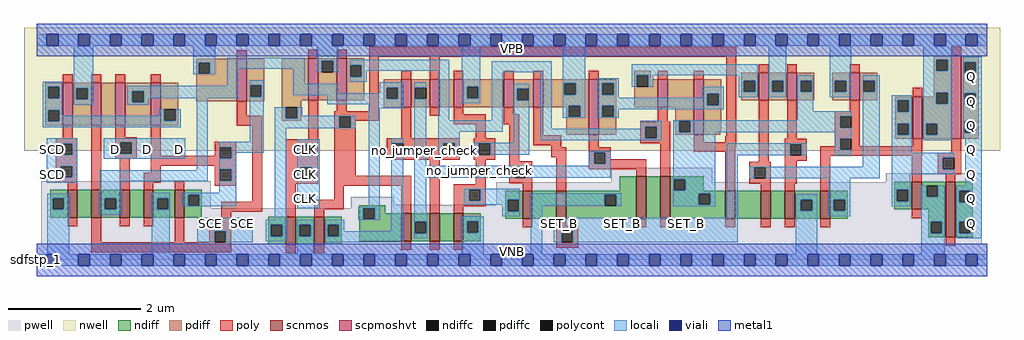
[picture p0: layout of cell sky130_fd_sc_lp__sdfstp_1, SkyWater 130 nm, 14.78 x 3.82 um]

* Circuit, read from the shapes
.subckt sky130_fd_sc_lp__sdfstp_1 CLK D SCD SCE SET_B VGND VNB VPB VPWR Q
XM1 n1 SCD VGND VNB sky130_fd_pr__nfet_01v8 w=0.42 l=0.15
XM2 n2 SCE n1 VNB sky130_fd_pr__nfet_01v8 w=0.42 l=0.15
XM3 n3 D n2 VNB sky130_fd_pr__nfet_01v8 w=0.42 l=0.15
XM4 VGND n4 n3 VNB sky130_fd_pr__nfet_01v8 w=0.42 l=0.15
XM5 n4 SCE VGND VNB sky130_fd_pr__nfet_01v8 w=0.42 l=0.15
XM6 VGND CLK n5 VNB sky130_fd_pr__nfet_01v8 w=0.42 l=0.15
XM7 n6 n5 VGND VNB sky130_fd_pr__nfet_01v8 w=0.42 l=0.15
XM8 n7 n5 n2 VNB sky130_fd_pr__nfet_01v8 w=0.42 l=0.15
XM9 n8 n6 n7 VNB sky130_fd_pr__nfet_01v8 w=0.42 l=0.15
XM10 VGND n9 n8 VNB sky130_fd_pr__nfet_01v8 w=0.42 l=0.15
XM11 n10 n7 n9 VNB sky130_fd_pr__nfet_01v8 w=0.42 l=0.15
XM12 VGND SET_B n10 VNB sky130_fd_pr__nfet_01v8 w=0.42 l=0.15
XM13 n11 n7 VGND VNB sky130_fd_pr__nfet_01v8 w=0.64 l=0.15
XM14 n12 n6 n11 VNB sky130_fd_pr__nfet_01v8 w=0.64 l=0.15
XM15 n13 n5 n12 VNB sky130_fd_pr__nfet_01v8 w=0.42 l=0.15
XM16 n14 n15 n13 VNB sky130_fd_pr__nfet_01v8 w=0.42 l=0.15
XM17 VGND SET_B n14 VNB sky130_fd_pr__nfet_01v8 w=0.42 l=0.15
XM18 n15 n12 VGND VNB sky130_fd_pr__nfet_01v8 w=0.42 l=0.15
XM19 VGND n12 n16 VNB sky130_fd_pr__nfet_01v8 w=0.42 l=0.15
XM20 Q n16 VGND VNB sky130_fd_pr__nfet_01v8 w=0.84 l=0.15
XM21 VPWR SCD n17 VPB sky130_fd_pr__pfet_01v8_hvt w=0.64 l=0.15
XM22 n18 SCE VPWR VPB sky130_fd_pr__pfet_01v8_hvt w=0.64 l=0.15
XM23 n2 D n18 VPB sky130_fd_pr__pfet_01v8_hvt w=0.64 l=0.15
XM24 n17 n4 n2 VPB sky130_fd_pr__pfet_01v8_hvt w=0.64 l=0.15
XM25 n4 SCE VPWR VPB sky130_fd_pr__pfet_01v8_hvt w=0.64 l=0.15
XM26 VPWR CLK n5 VPB sky130_fd_pr__pfet_01v8_hvt w=0.64 l=0.15
XM27 n6 n5 VPWR VPB sky130_fd_pr__pfet_01v8_hvt w=0.64 l=0.15
XM28 n7 n6 n2 VPB sky130_fd_pr__pfet_01v8_hvt w=0.42 l=0.15
XM29 n19 n5 n7 VPB sky130_fd_pr__pfet_01v8_hvt w=0.42 l=0.15
XM30 VPWR n9 n19 VPB sky130_fd_pr__pfet_01v8_hvt w=0.42 l=0.15
XM31 n9 n7 VPWR VPB sky130_fd_pr__pfet_01v8_hvt w=0.42 l=0.15
XM32 VPWR SET_B n9 VPB sky130_fd_pr__pfet_01v8_hvt w=0.42 l=0.15
XM33 n20 n7 VPWR VPB sky130_fd_pr__pfet_01v8_hvt w=0.84 l=0.15
XM34 n12 n6 n21 VPB sky130_fd_pr__pfet_01v8_hvt w=0.42 l=0.15
XM35 n20 n5 n12 VPB sky130_fd_pr__pfet_01v8_hvt w=0.84 l=0.15
XM36 VPWR n15 n21 VPB sky130_fd_pr__pfet_01v8_hvt w=0.42 l=0.15
XM37 n12 SET_B VPWR VPB sky130_fd_pr__pfet_01v8_hvt w=0.42 l=0.15
XM38 n15 n12 VPWR VPB sky130_fd_pr__pfet_01v8_hvt w=0.42 l=0.15
XM39 VPWR n12 n16 VPB sky130_fd_pr__pfet_01v8_hvt w=0.64 l=0.15
XM40 Q n16 VPWR VPB sky130_fd_pr__pfet_01v8_hvt w=1.26 l=0.15
.ends

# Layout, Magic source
magic
tech sky130A
magscale 1 2
<< nwell >>
rect -38 331 2918 704
<< pwell >>
rect 15 157 527 238
rect 1741 235 2047 279
rect 2572 235 2862 263
rect 952 167 1082 191
rect 1393 167 2862 235
rect 952 157 2862 167
rect 15 49 2862 157
rect 0 0 2880 49
<< scnmos >>
rect 94 128 124 212
rect 166 128 196 212
rect 252 128 282 212
rect 324 128 354 212
rect 418 128 448 212
rect 755 47 785 131
rect 841 47 871 131
rect 1105 57 1135 141
rect 1191 57 1221 141
rect 1263 57 1293 141
rect 1472 125 1502 209
rect 1574 125 1604 209
rect 1817 125 1847 253
rect 1889 125 1919 253
rect 2086 125 2116 209
rect 2194 125 2224 209
rect 2266 125 2296 209
rect 2374 125 2404 209
rect 2651 153 2681 237
rect 2753 69 2783 237
<< scpmoshvt >>
rect 80 408 110 536
rect 166 408 196 536
rect 238 408 268 536
rect 346 408 376 536
rect 606 481 636 609
rect 823 483 853 611
rect 909 483 939 611
rect 1105 463 1135 547
rect 1191 463 1221 547
rect 1263 463 1293 547
rect 1415 463 1445 547
rect 1504 463 1534 547
rect 1673 379 1703 547
rect 1882 463 1912 547
rect 1991 379 2021 547
rect 2187 483 2217 567
rect 2273 483 2303 567
rect 2463 483 2493 567
rect 2653 367 2683 495
rect 2770 367 2800 619
<< ndiff >>
rect 41 187 94 212
rect 41 153 49 187
rect 83 153 94 187
rect 41 128 94 153
rect 124 128 166 212
rect 196 187 252 212
rect 196 153 207 187
rect 241 153 252 187
rect 196 128 252 153
rect 282 128 324 212
rect 354 187 418 212
rect 354 153 365 187
rect 399 153 418 187
rect 354 128 418 153
rect 448 198 501 212
rect 448 164 459 198
rect 493 164 501 198
rect 448 128 501 164
rect 978 157 1056 165
rect 702 106 755 131
rect 702 72 710 106
rect 744 72 755 106
rect 702 47 755 72
rect 785 106 841 131
rect 785 72 796 106
rect 830 72 841 106
rect 785 47 841 72
rect 871 106 924 131
rect 871 72 882 106
rect 916 72 924 106
rect 871 47 924 72
rect 978 123 990 157
rect 1024 141 1056 157
rect 1767 209 1817 253
rect 1419 182 1472 209
rect 1419 148 1427 182
rect 1461 148 1472 182
rect 1024 123 1105 141
rect 978 57 1105 123
rect 1135 115 1191 141
rect 1135 81 1146 115
rect 1180 81 1191 115
rect 1135 57 1191 81
rect 1221 57 1263 141
rect 1293 117 1346 141
rect 1419 125 1472 148
rect 1502 125 1574 209
rect 1604 198 1817 209
rect 1604 164 1721 198
rect 1755 164 1817 198
rect 1604 125 1817 164
rect 1847 125 1889 253
rect 1919 245 2021 253
rect 1919 211 1930 245
rect 1964 211 2021 245
rect 1919 209 2021 211
rect 2598 212 2651 237
rect 1919 201 2086 209
rect 1919 167 2006 201
rect 2040 167 2086 201
rect 1919 125 2086 167
rect 2116 125 2194 209
rect 2224 125 2266 209
rect 2296 183 2374 209
rect 2296 149 2315 183
rect 2349 149 2374 183
rect 2296 125 2374 149
rect 2404 183 2457 209
rect 2404 149 2415 183
rect 2449 149 2457 183
rect 2598 178 2606 212
rect 2640 178 2651 212
rect 2598 153 2651 178
rect 2681 225 2753 237
rect 2681 191 2696 225
rect 2730 191 2753 225
rect 2681 153 2753 191
rect 2404 125 2457 149
rect 1293 83 1304 117
rect 1338 83 1346 117
rect 1293 57 1346 83
rect 2700 115 2753 153
rect 2700 81 2708 115
rect 2742 81 2753 115
rect 2700 69 2753 81
rect 2783 209 2836 237
rect 2783 175 2794 209
rect 2828 175 2836 209
rect 2783 115 2836 175
rect 2783 81 2794 115
rect 2828 81 2836 115
rect 2783 69 2836 81
<< pdiff >>
rect 483 609 557 610
rect 483 598 606 609
rect 483 564 491 598
rect 525 564 606 598
rect 27 524 80 536
rect 27 490 35 524
rect 69 490 80 524
rect 27 454 80 490
rect 27 420 35 454
rect 69 420 80 454
rect 27 408 80 420
rect 110 520 166 536
rect 110 486 121 520
rect 155 486 166 520
rect 110 408 166 486
rect 196 408 238 536
rect 268 511 346 536
rect 268 477 290 511
rect 324 477 346 511
rect 268 408 346 477
rect 376 456 429 536
rect 483 481 606 564
rect 636 529 689 609
rect 636 495 647 529
rect 681 495 689 529
rect 636 481 689 495
rect 743 483 823 611
rect 853 603 909 611
rect 853 569 864 603
rect 898 569 909 603
rect 853 483 909 569
rect 939 589 992 611
rect 939 555 950 589
rect 984 555 992 589
rect 939 483 992 555
rect 376 422 387 456
rect 421 422 429 456
rect 376 408 429 422
rect 743 463 801 483
rect 743 429 755 463
rect 789 429 801 463
rect 743 421 801 429
rect 1810 559 1860 573
rect 1052 522 1105 547
rect 1052 488 1060 522
rect 1094 488 1105 522
rect 1052 463 1105 488
rect 1135 522 1191 547
rect 1135 488 1146 522
rect 1180 488 1191 522
rect 1135 463 1191 488
rect 1221 463 1263 547
rect 1293 524 1415 547
rect 1293 490 1304 524
rect 1338 490 1415 524
rect 1293 463 1415 490
rect 1445 518 1504 547
rect 1445 484 1456 518
rect 1490 484 1504 518
rect 1445 463 1504 484
rect 1534 535 1673 547
rect 1534 501 1599 535
rect 1633 501 1673 535
rect 1534 467 1673 501
rect 1534 463 1612 467
rect 1604 433 1612 463
rect 1646 433 1673 467
rect 1604 379 1673 433
rect 1703 535 1756 547
rect 1703 501 1714 535
rect 1748 501 1756 535
rect 1703 467 1756 501
rect 1703 433 1714 467
rect 1748 433 1756 467
rect 1810 525 1818 559
rect 1852 547 1860 559
rect 1852 525 1882 547
rect 1810 463 1882 525
rect 1912 463 1991 547
rect 1703 379 1756 433
rect 1934 421 1991 463
rect 1934 387 1946 421
rect 1980 387 1991 421
rect 1934 379 1991 387
rect 2021 503 2074 547
rect 2021 469 2032 503
rect 2066 469 2074 503
rect 2021 390 2074 469
rect 2021 379 2071 390
rect 2717 607 2770 619
rect 2717 573 2725 607
rect 2759 573 2770 607
rect 2134 543 2187 567
rect 2134 509 2142 543
rect 2176 509 2187 543
rect 2134 483 2187 509
rect 2217 543 2273 567
rect 2217 509 2228 543
rect 2262 509 2273 543
rect 2217 483 2273 509
rect 2303 543 2356 567
rect 2303 509 2314 543
rect 2348 509 2356 543
rect 2303 483 2356 509
rect 2410 543 2463 567
rect 2410 509 2418 543
rect 2452 509 2463 543
rect 2410 483 2463 509
rect 2493 543 2546 567
rect 2493 509 2504 543
rect 2538 509 2546 543
rect 2493 483 2546 509
rect 2717 507 2770 573
rect 2717 495 2725 507
rect 2600 483 2653 495
rect 2600 449 2608 483
rect 2642 449 2653 483
rect 2600 413 2653 449
rect 2600 379 2608 413
rect 2642 379 2653 413
rect 2600 367 2653 379
rect 2683 473 2725 495
rect 2759 473 2770 507
rect 2683 413 2770 473
rect 2683 379 2694 413
rect 2728 379 2770 413
rect 2683 367 2770 379
rect 2800 599 2853 619
rect 2800 565 2811 599
rect 2845 565 2853 599
rect 2800 505 2853 565
rect 2800 471 2811 505
rect 2845 471 2853 505
rect 2800 420 2853 471
rect 2800 386 2811 420
rect 2845 386 2853 420
rect 2800 367 2853 386
<< ndiffc >>
rect 49 153 83 187
rect 207 153 241 187
rect 365 153 399 187
rect 459 164 493 198
rect 710 72 744 106
rect 796 72 830 106
rect 882 72 916 106
rect 990 123 1024 157
rect 1427 148 1461 182
rect 1146 81 1180 115
rect 1721 164 1755 198
rect 1930 211 1964 245
rect 2006 167 2040 201
rect 2315 149 2349 183
rect 2415 149 2449 183
rect 2606 178 2640 212
rect 2696 191 2730 225
rect 1304 83 1338 117
rect 2708 81 2742 115
rect 2794 175 2828 209
rect 2794 81 2828 115
<< pdiffc >>
rect 491 564 525 598
rect 35 490 69 524
rect 35 420 69 454
rect 121 486 155 520
rect 290 477 324 511
rect 647 495 681 529
rect 864 569 898 603
rect 950 555 984 589
rect 387 422 421 456
rect 755 429 789 463
rect 1060 488 1094 522
rect 1146 488 1180 522
rect 1304 490 1338 524
rect 1456 484 1490 518
rect 1599 501 1633 535
rect 1612 433 1646 467
rect 1714 501 1748 535
rect 1714 433 1748 467
rect 1818 525 1852 559
rect 1946 387 1980 421
rect 2032 469 2066 503
rect 2725 573 2759 607
rect 2142 509 2176 543
rect 2228 509 2262 543
rect 2314 509 2348 543
rect 2418 509 2452 543
rect 2504 509 2538 543
rect 2608 449 2642 483
rect 2608 379 2642 413
rect 2725 473 2759 507
rect 2694 379 2728 413
rect 2811 565 2845 599
rect 2811 471 2845 505
rect 2811 386 2845 420
<< poly >>
rect 606 609 636 635
rect 823 611 853 637
rect 909 611 939 637
rect 1007 615 2119 645
rect 2770 619 2800 645
rect 80 536 110 562
rect 166 536 196 562
rect 238 536 268 562
rect 346 536 376 562
rect 606 436 636 481
rect 80 368 110 408
rect 58 352 124 368
rect 58 318 74 352
rect 108 318 124 352
rect 58 284 124 318
rect 58 250 74 284
rect 108 250 124 284
rect 58 234 124 250
rect 94 212 124 234
rect 166 212 196 408
rect 238 372 268 408
rect 238 356 304 372
rect 238 322 254 356
rect 288 322 304 356
rect 238 306 304 322
rect 346 316 376 408
rect 606 406 683 436
rect 539 342 605 358
rect 539 316 555 342
rect 346 308 555 316
rect 589 308 605 342
rect 252 212 282 306
rect 346 286 605 308
rect 346 264 376 286
rect 324 234 376 264
rect 539 274 605 286
rect 539 240 555 274
rect 589 240 605 274
rect 324 212 354 234
rect 418 212 448 238
rect 539 224 605 240
rect 653 176 683 406
rect 823 365 853 483
rect 909 451 939 483
rect 1007 451 1037 615
rect 1105 547 1135 573
rect 1191 547 1221 615
rect 1263 547 1293 573
rect 1415 547 1445 573
rect 1504 547 1534 573
rect 1673 547 1703 573
rect 559 146 683 176
rect 755 349 853 365
rect 755 315 799 349
rect 833 315 853 349
rect 755 281 853 315
rect 755 247 799 281
rect 833 247 853 281
rect 755 231 853 247
rect 901 435 1037 451
rect 901 401 917 435
rect 951 421 1037 435
rect 951 401 967 421
rect 901 255 967 401
rect 1105 369 1135 463
rect 1191 437 1221 463
rect 1263 441 1293 463
rect 1415 441 1445 463
rect 1263 411 1360 441
rect 1415 411 1462 441
rect 1330 369 1360 411
rect 1060 353 1282 369
rect 1060 319 1076 353
rect 1110 319 1232 353
rect 1266 319 1282 353
rect 1060 303 1282 319
rect 1324 353 1390 369
rect 1324 319 1340 353
rect 1374 319 1390 353
rect 1324 303 1390 319
rect 94 102 124 128
rect 166 54 196 128
rect 252 102 282 128
rect 324 102 354 128
rect 418 54 448 128
rect 559 103 589 146
rect 755 131 785 231
rect 901 225 1135 255
rect 901 183 931 225
rect 841 153 931 183
rect 841 131 871 153
rect 523 87 589 103
rect 523 54 539 87
rect 166 53 539 54
rect 573 53 589 87
rect 166 24 589 53
rect 1105 141 1135 225
rect 1191 141 1221 303
rect 1330 229 1360 303
rect 1432 299 1462 411
rect 1504 377 1534 463
rect 1882 547 1912 573
rect 1991 547 2021 573
rect 1882 419 1912 463
rect 1828 403 1919 419
rect 1504 347 1589 377
rect 1559 341 1589 347
rect 1673 341 1703 379
rect 1828 369 1844 403
rect 1878 369 1919 403
rect 1828 353 1919 369
rect 1559 311 1604 341
rect 1432 283 1502 299
rect 1432 249 1448 283
rect 1482 249 1502 283
rect 1432 233 1502 249
rect 1263 213 1360 229
rect 1263 179 1310 213
rect 1344 179 1360 213
rect 1472 209 1502 233
rect 1574 209 1604 311
rect 1673 325 1739 341
rect 1673 291 1689 325
rect 1723 305 1739 325
rect 1723 291 1847 305
rect 1673 275 1847 291
rect 1817 253 1847 275
rect 1889 253 1919 353
rect 1991 357 2021 379
rect 2089 375 2119 615
rect 2187 567 2217 593
rect 2273 567 2303 593
rect 2463 567 2493 593
rect 2653 495 2683 521
rect 2086 357 2119 375
rect 1991 345 2119 357
rect 1991 327 2116 345
rect 1263 163 1360 179
rect 1263 141 1293 163
rect 2086 209 2116 327
rect 2187 297 2217 483
rect 2273 367 2303 483
rect 2463 451 2493 483
rect 2418 435 2493 451
rect 2418 401 2434 435
rect 2468 401 2493 435
rect 2418 367 2493 401
rect 2266 351 2332 367
rect 2266 317 2282 351
rect 2316 317 2332 351
rect 2418 345 2434 367
rect 2266 301 2332 317
rect 2374 333 2434 345
rect 2468 345 2493 367
rect 2653 345 2683 367
rect 2468 333 2683 345
rect 2374 315 2683 333
rect 2770 325 2800 367
rect 2158 281 2224 297
rect 2158 247 2174 281
rect 2208 247 2224 281
rect 2158 231 2224 247
rect 2194 209 2224 231
rect 2266 231 2302 301
rect 2266 209 2296 231
rect 2374 209 2404 315
rect 2651 237 2681 315
rect 2729 309 2800 325
rect 2729 275 2745 309
rect 2779 275 2800 309
rect 2729 259 2800 275
rect 2753 237 2783 259
rect 2651 127 2681 153
rect 1472 99 1502 125
rect 1574 103 1604 125
rect 1574 87 1640 103
rect 1817 99 1847 125
rect 1889 99 1919 125
rect 2086 99 2116 125
rect 2194 99 2224 125
rect 2266 99 2296 125
rect 2374 99 2404 125
rect 755 21 785 47
rect 841 21 871 47
rect 1105 31 1135 57
rect 1191 31 1221 57
rect 1263 31 1293 57
rect 1574 53 1590 87
rect 1624 53 1640 87
rect 1574 37 1640 53
rect 2753 43 2783 69
<< polycont >>
rect 74 318 108 352
rect 74 250 108 284
rect 254 322 288 356
rect 555 308 589 342
rect 555 240 589 274
rect 799 315 833 349
rect 799 247 833 281
rect 917 401 951 435
rect 1076 319 1110 353
rect 1232 319 1266 353
rect 1340 319 1374 353
rect 539 53 573 87
rect 1844 369 1878 403
rect 1448 249 1482 283
rect 1310 179 1344 213
rect 1689 291 1723 325
rect 2434 401 2468 435
rect 2282 317 2316 351
rect 2434 333 2468 367
rect 2174 247 2208 281
rect 2745 275 2779 309
rect 1590 53 1624 87
<< locali >>
rect 0 649 31 683
rect 65 649 127 683
rect 161 649 223 683
rect 257 649 319 683
rect 353 649 415 683
rect 449 649 511 683
rect 545 649 607 683
rect 641 649 703 683
rect 737 649 799 683
rect 833 649 895 683
rect 929 649 991 683
rect 1025 649 1087 683
rect 1121 649 1183 683
rect 1217 649 1279 683
rect 1313 649 1375 683
rect 1409 649 1471 683
rect 1505 649 1567 683
rect 1601 649 1663 683
rect 1697 649 1759 683
rect 1793 649 1855 683
rect 1889 649 1951 683
rect 1985 649 2047 683
rect 2081 649 2143 683
rect 2177 649 2239 683
rect 2273 649 2335 683
rect 2369 649 2431 683
rect 2465 649 2527 683
rect 2561 649 2623 683
rect 2657 649 2719 683
rect 2753 649 2815 683
rect 2849 649 2880 683
rect 19 524 78 540
rect 19 490 35 524
rect 69 490 78 524
rect 19 454 78 490
rect 112 520 171 649
rect 475 598 541 649
rect 475 564 491 598
rect 525 564 541 598
rect 475 562 541 564
rect 577 579 812 613
rect 577 528 611 579
rect 112 486 121 520
rect 155 486 171 520
rect 112 470 171 486
rect 274 511 611 528
rect 274 477 290 511
rect 324 490 611 511
rect 645 529 688 545
rect 645 495 647 529
rect 681 495 688 529
rect 778 533 812 579
rect 848 603 914 649
rect 848 569 864 603
rect 898 569 914 603
rect 948 589 1250 607
rect 948 555 950 589
rect 984 573 1250 589
rect 984 555 1000 573
rect 948 539 1000 555
rect 778 505 914 533
rect 1040 522 1110 538
rect 1040 505 1060 522
rect 778 499 1060 505
rect 324 477 340 490
rect 274 470 340 477
rect 19 420 35 454
rect 69 436 78 454
rect 371 436 387 456
rect 69 422 387 436
rect 421 422 437 456
rect 69 420 437 422
rect 19 402 437 420
rect 31 352 124 368
rect 31 318 74 352
rect 108 318 124 352
rect 31 284 124 318
rect 203 356 451 368
rect 203 322 254 356
rect 288 322 451 356
rect 203 306 451 322
rect 31 250 74 284
rect 108 250 124 284
rect 485 272 519 490
rect 645 358 688 495
rect 880 488 1060 499
rect 1094 488 1110 522
rect 880 471 1110 488
rect 31 234 124 250
rect 191 238 519 272
rect 553 342 688 358
rect 553 308 555 342
rect 589 324 688 342
rect 722 429 755 463
rect 789 437 805 463
rect 1006 459 1110 471
rect 1144 522 1180 538
rect 1144 488 1146 522
rect 789 435 967 437
rect 789 429 917 435
rect 722 401 917 429
rect 951 401 967 435
rect 722 399 967 401
rect 589 308 605 324
rect 553 274 605 308
rect 553 240 555 274
rect 589 240 605 274
rect 33 187 99 200
rect 33 153 49 187
rect 83 153 99 187
rect 33 17 99 153
rect 191 187 257 238
rect 553 204 605 240
rect 191 153 207 187
rect 241 153 257 187
rect 191 137 257 153
rect 349 187 403 203
rect 349 153 365 187
rect 399 153 403 187
rect 443 198 605 204
rect 443 164 459 198
rect 493 164 605 198
rect 443 162 605 164
rect 349 17 403 153
rect 486 87 655 128
rect 722 122 756 399
rect 790 349 857 365
rect 790 315 799 349
rect 833 315 857 349
rect 790 281 857 315
rect 790 247 799 281
rect 833 247 857 281
rect 790 156 857 247
rect 1006 161 1040 459
rect 974 157 1040 161
rect 974 123 990 157
rect 1024 123 1040 157
rect 486 53 539 87
rect 573 53 655 87
rect 694 106 756 122
rect 694 72 710 106
rect 744 72 756 106
rect 694 56 756 72
rect 790 106 840 122
rect 790 72 796 106
rect 830 72 840 106
rect 790 17 840 72
rect 874 106 932 122
rect 974 121 1040 123
rect 1074 353 1110 369
rect 1074 319 1076 353
rect 874 72 882 106
rect 916 87 932 106
rect 1074 87 1110 319
rect 916 72 1110 87
rect 874 53 1110 72
rect 1144 285 1180 488
rect 1216 423 1250 573
rect 1288 524 1344 649
rect 1288 490 1304 524
rect 1338 490 1344 524
rect 1288 474 1344 490
rect 1378 568 1560 602
rect 1378 423 1412 568
rect 1216 389 1412 423
rect 1446 518 1492 534
rect 1446 484 1456 518
rect 1490 484 1492 518
rect 1216 353 1282 389
rect 1446 355 1492 484
rect 1526 397 1560 568
rect 1594 535 1662 649
rect 1802 559 2184 593
rect 1594 501 1599 535
rect 1633 501 1662 535
rect 1594 467 1662 501
rect 1594 433 1612 467
rect 1646 433 1662 467
rect 1594 431 1662 433
rect 1698 535 1764 551
rect 1698 501 1714 535
rect 1748 501 1764 535
rect 1802 525 1818 559
rect 1852 525 1868 559
rect 2126 543 2184 559
rect 1698 491 1764 501
rect 2016 503 2082 525
rect 2016 491 2032 503
rect 1698 469 2032 491
rect 2066 469 2082 503
rect 2126 509 2142 543
rect 2176 509 2184 543
rect 2126 493 2184 509
rect 2218 543 2270 649
rect 2218 509 2228 543
rect 2262 509 2270 543
rect 2218 493 2270 509
rect 2304 543 2352 559
rect 2304 509 2314 543
rect 2348 509 2352 543
rect 1698 467 2082 469
rect 1698 433 1714 467
rect 1748 457 2082 467
rect 1748 433 1764 457
rect 1698 431 1764 433
rect 2304 451 2352 509
rect 2402 543 2468 649
rect 2685 607 2773 649
rect 2685 573 2725 607
rect 2759 573 2773 607
rect 2402 509 2418 543
rect 2452 509 2468 543
rect 2402 493 2468 509
rect 2502 543 2554 559
rect 2502 509 2504 543
rect 2538 509 2554 543
rect 2304 435 2468 451
rect 2304 423 2434 435
rect 1928 421 2434 423
rect 1828 403 1894 421
rect 1828 397 1844 403
rect 1526 369 1844 397
rect 1878 369 1894 403
rect 1526 363 1894 369
rect 1928 387 1946 421
rect 1980 401 2434 421
rect 1980 387 2468 401
rect 1216 319 1232 353
rect 1266 319 1282 353
rect 1324 353 1492 355
rect 1324 319 1340 353
rect 1374 319 1492 353
rect 1673 325 1739 329
rect 1673 291 1689 325
rect 1723 291 1739 325
rect 1673 285 1739 291
rect 1144 283 1739 285
rect 1144 249 1448 283
rect 1482 249 1739 283
rect 1144 145 1180 249
rect 1928 245 2056 387
rect 2418 367 2468 387
rect 1294 213 1463 215
rect 1294 179 1310 213
rect 1344 182 1463 213
rect 1928 211 1930 245
rect 1964 211 2056 245
rect 1344 179 1427 182
rect 1294 167 1427 179
rect 1411 148 1427 167
rect 1461 148 1463 182
rect 1144 115 1184 145
rect 1144 81 1146 115
rect 1180 81 1184 115
rect 1144 65 1184 81
rect 1288 117 1354 133
rect 1411 132 1463 148
rect 1497 198 1771 202
rect 1497 164 1721 198
rect 1755 164 1771 198
rect 1928 201 2056 211
rect 1928 167 2006 201
rect 2040 167 2056 201
rect 1288 83 1304 117
rect 1338 83 1354 117
rect 1288 17 1354 83
rect 1497 17 1531 164
rect 1928 162 2056 167
rect 2090 351 2332 353
rect 2090 317 2282 351
rect 2316 317 2332 351
rect 2418 333 2434 367
rect 2418 317 2468 333
rect 2090 128 2124 317
rect 2502 283 2554 509
rect 2685 507 2773 573
rect 2158 281 2554 283
rect 2158 247 2174 281
rect 2208 247 2554 281
rect 2590 483 2651 499
rect 2590 449 2608 483
rect 2642 449 2651 483
rect 2590 413 2651 449
rect 2590 379 2608 413
rect 2642 379 2651 413
rect 2590 325 2651 379
rect 2685 473 2725 507
rect 2759 473 2773 507
rect 2685 413 2773 473
rect 2685 379 2694 413
rect 2728 379 2773 413
rect 2685 363 2773 379
rect 2807 599 2863 615
rect 2807 565 2811 599
rect 2845 565 2863 599
rect 2807 505 2863 565
rect 2807 471 2811 505
rect 2845 471 2863 505
rect 2807 420 2863 471
rect 2807 386 2811 420
rect 2845 386 2863 420
rect 2807 370 2863 386
rect 2590 309 2779 325
rect 2590 275 2745 309
rect 2590 259 2779 275
rect 1567 87 2124 128
rect 1567 53 1590 87
rect 1624 53 2124 87
rect 2299 183 2365 199
rect 2299 149 2315 183
rect 2349 149 2365 183
rect 2299 17 2365 149
rect 2399 183 2465 247
rect 2399 149 2415 183
rect 2449 149 2465 183
rect 2590 212 2646 259
rect 2813 225 2863 370
rect 2590 178 2606 212
rect 2640 178 2646 212
rect 2590 162 2646 178
rect 2680 191 2696 225
rect 2730 191 2751 225
rect 2399 133 2465 149
rect 2680 115 2751 191
rect 2680 81 2708 115
rect 2742 81 2751 115
rect 2680 17 2751 81
rect 2785 209 2863 225
rect 2785 175 2794 209
rect 2828 175 2863 209
rect 2785 115 2863 175
rect 2785 81 2794 115
rect 2828 81 2863 115
rect 2785 65 2863 81
rect 0 -17 31 17
rect 65 -17 127 17
rect 161 -17 223 17
rect 257 -17 319 17
rect 353 -17 415 17
rect 449 -17 511 17
rect 545 -17 607 17
rect 641 -17 703 17
rect 737 -17 799 17
rect 833 -17 895 17
rect 929 -17 991 17
rect 1025 -17 1087 17
rect 1121 -17 1183 17
rect 1217 -17 1279 17
rect 1313 -17 1375 17
rect 1409 -17 1471 17
rect 1505 -17 1567 17
rect 1601 -17 1663 17
rect 1697 -17 1759 17
rect 1793 -17 1855 17
rect 1889 -17 1951 17
rect 1985 -17 2047 17
rect 2081 -17 2143 17
rect 2177 -17 2239 17
rect 2273 -17 2335 17
rect 2369 -17 2431 17
rect 2465 -17 2527 17
rect 2561 -17 2623 17
rect 2657 -17 2719 17
rect 2753 -17 2815 17
rect 2849 -17 2880 17
<< viali >>
rect 31 649 65 683
rect 127 649 161 683
rect 223 649 257 683
rect 319 649 353 683
rect 415 649 449 683
rect 511 649 545 683
rect 607 649 641 683
rect 703 649 737 683
rect 799 649 833 683
rect 895 649 929 683
rect 991 649 1025 683
rect 1087 649 1121 683
rect 1183 649 1217 683
rect 1279 649 1313 683
rect 1375 649 1409 683
rect 1471 649 1505 683
rect 1567 649 1601 683
rect 1663 649 1697 683
rect 1759 649 1793 683
rect 1855 649 1889 683
rect 1951 649 1985 683
rect 2047 649 2081 683
rect 2143 649 2177 683
rect 2239 649 2273 683
rect 2335 649 2369 683
rect 2431 649 2465 683
rect 2527 649 2561 683
rect 2623 649 2657 683
rect 2719 649 2753 683
rect 2815 649 2849 683
rect 31 -17 65 17
rect 127 -17 161 17
rect 223 -17 257 17
rect 319 -17 353 17
rect 415 -17 449 17
rect 511 -17 545 17
rect 607 -17 641 17
rect 703 -17 737 17
rect 799 -17 833 17
rect 895 -17 929 17
rect 991 -17 1025 17
rect 1087 -17 1121 17
rect 1183 -17 1217 17
rect 1279 -17 1313 17
rect 1375 -17 1409 17
rect 1471 -17 1505 17
rect 1567 -17 1601 17
rect 1663 -17 1697 17
rect 1759 -17 1793 17
rect 1855 -17 1889 17
rect 1951 -17 1985 17
rect 2047 -17 2081 17
rect 2143 -17 2177 17
rect 2239 -17 2273 17
rect 2335 -17 2369 17
rect 2431 -17 2465 17
rect 2527 -17 2561 17
rect 2623 -17 2657 17
rect 2719 -17 2753 17
rect 2815 -17 2849 17
<< metal1 >>
rect 0 683 2880 715
rect 0 649 31 683
rect 65 649 127 683
rect 161 649 223 683
rect 257 649 319 683
rect 353 649 415 683
rect 449 649 511 683
rect 545 649 607 683
rect 641 649 703 683
rect 737 649 799 683
rect 833 649 895 683
rect 929 649 991 683
rect 1025 649 1087 683
rect 1121 649 1183 683
rect 1217 649 1279 683
rect 1313 649 1375 683
rect 1409 649 1471 683
rect 1505 649 1567 683
rect 1601 649 1663 683
rect 1697 649 1759 683
rect 1793 649 1855 683
rect 1889 649 1951 683
rect 1985 649 2047 683
rect 2081 649 2143 683
rect 2177 649 2239 683
rect 2273 649 2335 683
rect 2369 649 2431 683
rect 2465 649 2527 683
rect 2561 649 2623 683
rect 2657 649 2719 683
rect 2753 649 2815 683
rect 2849 649 2880 683
rect 0 617 2880 649
rect 0 17 2880 49
rect 0 -17 31 17
rect 65 -17 127 17
rect 161 -17 223 17
rect 257 -17 319 17
rect 353 -17 415 17
rect 449 -17 511 17
rect 545 -17 607 17
rect 641 -17 703 17
rect 737 -17 799 17
rect 833 -17 895 17
rect 929 -17 991 17
rect 1025 -17 1087 17
rect 1121 -17 1183 17
rect 1217 -17 1279 17
rect 1313 -17 1375 17
rect 1409 -17 1471 17
rect 1505 -17 1567 17
rect 1601 -17 1663 17
rect 1697 -17 1759 17
rect 1793 -17 1855 17
rect 1889 -17 1951 17
rect 1985 -17 2047 17
rect 2081 -17 2143 17
rect 2177 -17 2239 17
rect 2273 -17 2335 17
rect 2369 -17 2431 17
rect 2465 -17 2527 17
rect 2561 -17 2623 17
rect 2657 -17 2719 17
rect 2753 -17 2815 17
rect 2849 -17 2880 17
rect 0 -49 2880 -17
<< labels >>
flabel pwell s 0 0 2880 49 0 FreeSans 200 0 0 0 VNB
port 7 nsew ground bidirectional
flabel nwell s 0 617 2880 666 0 FreeSans 200 0 0 0 VPB
port 8 nsew power bidirectional
rlabel comment s 0 0 0 0 4 sdfstp_1
flabel comment s 1174 332 1174 332 0 FreeSans 200 0 0 0 no_jumper_check
flabel comment s 1342 270 1342 270 0 FreeSans 200 90 0 0 no_jumper_check
flabel metal1 s 0 617 2880 666 0 FreeSans 340 0 0 0 VPWR
port 9 nsew power bidirectional
flabel metal1 s 0 0 2880 49 0 FreeSans 340 0 0 0 VGND
port 6 nsew ground bidirectional
flabel locali s 799 168 833 202 0 FreeSans 340 0 0 0 CLK
port 1 nsew clock input
flabel locali s 799 242 833 276 0 FreeSans 340 0 0 0 CLK
port 1 nsew clock input
flabel locali s 799 316 833 350 0 FreeSans 340 0 0 0 CLK
port 1 nsew clock input
flabel locali s 511 94 545 128 0 FreeSans 340 0 0 0 SCE
port 4 nsew signal input
flabel locali s 607 94 641 128 0 FreeSans 340 0 0 0 SCE
port 4 nsew signal input
flabel locali s 31 242 65 276 0 FreeSans 340 0 0 0 SCD
port 3 nsew signal input
flabel locali s 31 316 65 350 0 FreeSans 340 0 0 0 SCD
port 3 nsew signal input
flabel locali s 223 316 257 350 0 FreeSans 340 0 0 0 D
port 2 nsew signal input
flabel locali s 319 316 353 350 0 FreeSans 340 0 0 0 D
port 2 nsew signal input
flabel locali s 415 316 449 350 0 FreeSans 340 0 0 0 D
port 2 nsew signal input
flabel locali s 2815 94 2849 128 0 FreeSans 340 0 0 0 Q
port 10 nsew signal output
flabel locali s 2815 168 2849 202 0 FreeSans 340 0 0 0 Q
port 10 nsew signal output
flabel locali s 2815 242 2849 276 0 FreeSans 340 0 0 0 Q
port 10 nsew signal output
flabel locali s 2815 316 2849 350 0 FreeSans 340 0 0 0 Q
port 10 nsew signal output
flabel locali s 2815 390 2849 424 0 FreeSans 340 0 0 0 Q
port 10 nsew signal output
flabel locali s 2815 464 2849 498 0 FreeSans 340 0 0 0 Q
port 10 nsew signal output
flabel locali s 2815 538 2849 572 0 FreeSans 340 0 0 0 Q
port 10 nsew signal output
flabel locali s 1567 94 1601 128 0 FreeSans 340 0 0 0 SET_B
port 5 nsew signal input
flabel locali s 1663 94 1697 128 0 FreeSans 340 0 0 0 SET_B
port 5 nsew signal input
flabel locali s 1759 94 1793 128 0 FreeSans 340 0 0 0 SET_B
port 5 nsew signal input
flabel locali s 1855 94 1889 128 0 FreeSans 340 0 0 0 SET_B
port 5 nsew signal input
flabel locali s 1951 94 1985 128 0 FreeSans 340 0 0 0 SET_B
port 5 nsew signal input
flabel locali s 2047 94 2081 128 0 FreeSans 340 0 0 0 SET_B
port 5 nsew signal input
<< properties >>
string LEFsite unit
string LEFclass CORE
string FIXED_BBOX 0 0 2880 666
string GDS_FILE $PDKPATH/libs.ref/sky130_fd_sc_lp/gds/sky130_fd_sc_lp.gds
string LEFsymmetry X Y R90
string GDS_END 110164
string GDS_START 89786
<< end >>
